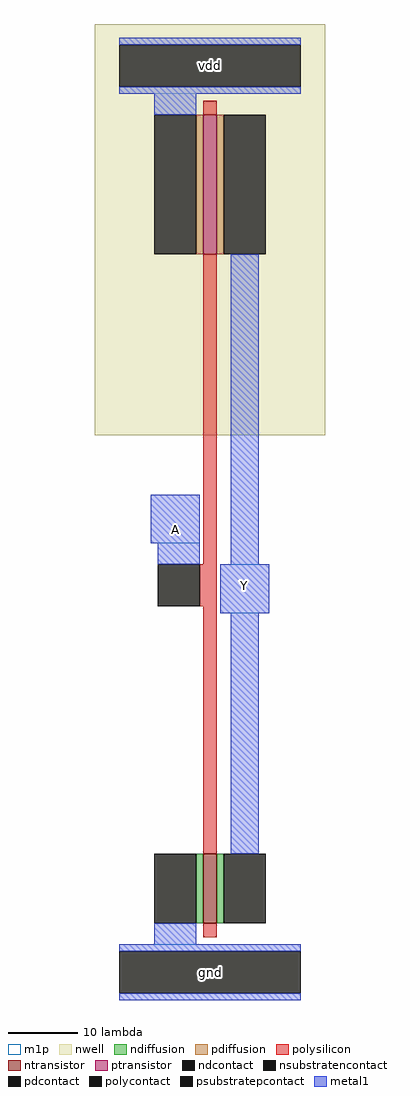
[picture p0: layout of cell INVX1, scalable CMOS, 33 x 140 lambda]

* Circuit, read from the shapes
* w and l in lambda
.subckt INVX1 A Y vdd gnd
M1 Y A gnd gnd nfet w=10 l=2
M2 Y A vdd vdd pfet w=20 l=2
.ends

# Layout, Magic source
magic
tech scmos
magscale 1 2
<< nwell >>
rect -13 154 53 272
<< ntransistor >>
rect 18 14 22 34
<< ptransistor >>
rect 18 206 22 246
<< ndiffusion >>
rect 16 14 18 34
rect 22 14 24 34
<< pdiffusion >>
rect 16 206 18 246
rect 22 206 24 246
<< ndcontact >>
rect 4 14 16 34
rect 24 14 36 34
<< pdcontact >>
rect 4 206 16 246
rect 24 206 36 246
<< psubstratepcontact >>
rect -6 -6 46 6
<< nsubstratencontact >>
rect -6 254 46 266
<< polysilicon >>
rect 18 246 22 250
rect 18 117 22 206
rect 17 105 22 117
rect 18 34 22 105
rect 18 10 22 14
<< polycontact >>
rect 5 105 17 117
<< metal1 >>
rect -6 266 46 268
rect -6 252 46 254
rect 4 246 16 252
rect 3 123 17 137
rect 5 117 17 123
rect 26 117 34 206
rect 23 103 37 117
rect 26 34 34 103
rect 4 8 16 14
rect -6 6 46 8
rect -6 -8 46 -6
<< m1p >>
rect -6 252 46 268
rect 3 123 17 137
rect 23 103 37 117
rect -6 -8 46 8
<< labels >>
rlabel nsubstratencontact 20 260 20 260 0 vdd
port 3 nsew power bidirectional abutment
rlabel psubstratepcontact 20 0 20 0 0 gnd
port 4 nsew ground bidirectional abutment
rlabel metal1 10 127 10 127 0 A
port 1 nsew signal input
rlabel metal1 30 111 30 111 0 Y
port 2 nsew signal output
<< properties >>
string FIXED_BBOX 0 0 40 260
string LEFclass CORE
string LEFsite core
string LEFsymmetry X Y
<< end >>
